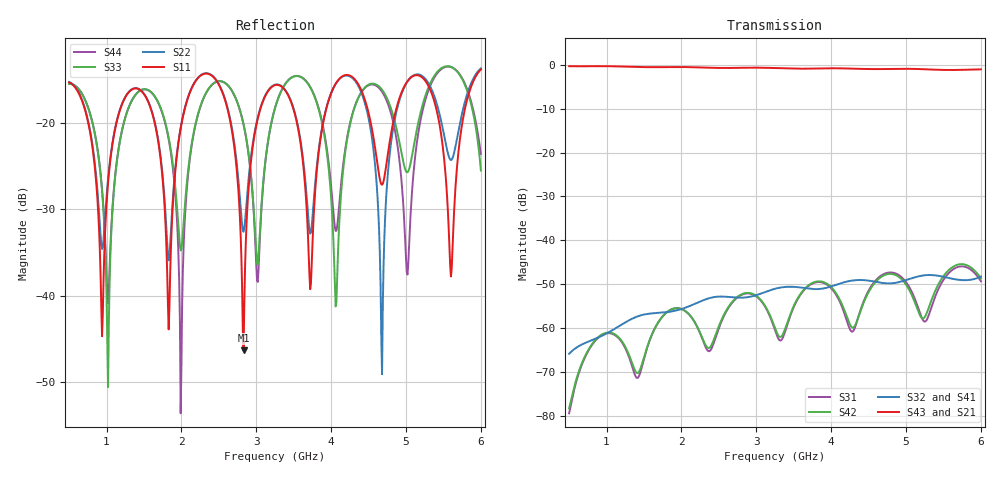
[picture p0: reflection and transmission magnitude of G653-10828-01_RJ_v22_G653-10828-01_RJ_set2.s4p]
! Touchstone file exported from HFSS 3D Layout Design 2025.1.0
!  File:  C:/Users/pricewu/Documents/Ansoft/G653-10828-01_RJ_v22.aedt
!  Generated:  09:36:15 AM Apr 27, 2026
!  Design:  G653-10828-01_RJ_set
!  Project:  G653-10828-01_RJ_v22
!  Setup:  Setup1
!  Solution:  Sweep1
# GHz S MA R 50.000000
! Terminal data exported
! Port[1] = ANT6_CLB
! Port[2] = ANT6_SLB
! Port[3] = ANT7_CLB
! Port[4] = ANT7_SLB
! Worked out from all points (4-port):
!   551 points, 500 MHz to 6 GHz, reference 50 ohm
!   strongest paths, dB at 500 MHz, 1.87 GHz, 3.25 GHz, 4.63 GHz, 6 GHz:
!     S43: -0.4, -0.5, -0.8, -1.0, -1.1
!     S21: -0.4, -0.6, -0.9, -1.0, -1.3
!     S32: -65.8, -56.2, -51.0, -49.5, -48.2
!     S41: -65.8, -56.3, -51.0, -49.5, -48.3
!     S42: -78.2, -55.7, -59.9, -48.8, -48.6
!     S31: -79.3, -55.7, -60.4, -48.5, -49.3
!   lowest |S11| = -46.4 dB at 2.83 GHz (marker M1), VSWR 1.01, Z = 49.5 - j0.0726 ohm
!   |S11| at or under -10 dB: start of sweep to end of sweep
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0.5  0.1728 173.1  0.9572 -99.0  0.000108 109.1  0.0005134 171.8
     0.9572 -99.0  0.1738 177.8  0.0005137 172.2  0.0001229 108.2
     0.000108 109.1  0.0005137 172.2  0.1696 -178.2  0.9601 -92.3
     0.0005134 171.8  0.0001229 108.2  0.9601 -92.3  0.1697 -177.7
1.44  0.1569 171.5  0.9338 77.1  0.0002954 104.9  0.001391 -4.9
      0.9338 77.1  0.1577 169.4  0.00139 -4.6  0.0003281 100.8
      0.0002954 104.9  0.00139 -4.6  0.1543 -169.5  0.9385 96.3
      0.001391 -4.9  0.0003281 100.8  0.9385 96.3  0.1541 -173.7
2.24  0.1868 -168.2  0.9138 -79.4  0.0009188 53.4  0.00198 -151.1
      0.9138 -79.4  0.1877 -169.2  0.002 -151.2  0.0009275 55.9
      0.0009188 53.4  0.002 -151.2  0.1206 -145.0  0.9288 -49.4
      0.00198 -151.1  0.0009275 55.9  0.9288 -49.4  0.1197 -137.4
2.83  0.004804 -171.2  0.9201 166.0  0.002453 91.7  0.002216 91.0
      0.9201 166.0  0.02349 170.3  0.002236 91.7  0.002487 91.5
      0.002453 91.7  0.002236 91.7  0.09865 121.4  0.921 -155.7
      0.002216 91.0  0.002487 91.5  0.921 -155.7  0.09851 122.8
3.66  0.03905 113.0  0.9068 4.4  0.002848 109.3  0.002871 -67.7
      0.9068 4.4  0.04401 123.3  0.002861 -67.1  0.002897 108.6
      0.002848 109.3  0.002861 -67.1  0.1762 144.7  0.8991 53.6
      0.002871 -67.7  0.002897 108.6  0.8991 53.6  0.1771 148.8
4.96  0.1582 -173.4  0.8789 110.6  0.003679 61.7  0.003441 55.9
      0.8789 110.6  0.1559 -152.4  0.003455 56.8  0.003478 63.2
      0.003679 61.7  0.003455 56.8  0.06073 142.7  0.8962 177.6
      0.003441 55.9  0.003478 63.2  0.8962 177.6  0.03557 68.7
6  0.2054 -173.0  0.8574 -91.6  0.003441 53.1  0.00383 -138.7
   0.8574 -91.6  0.2083 167.5  0.003883 -138.4  0.003706 53.1
   0.003441 53.1  0.003883 -138.4  0.0532 83.3  0.8831 -10.5
   0.00383 -138.7  0.003706 53.1  0.8831 -10.5  0.06637 121.8
